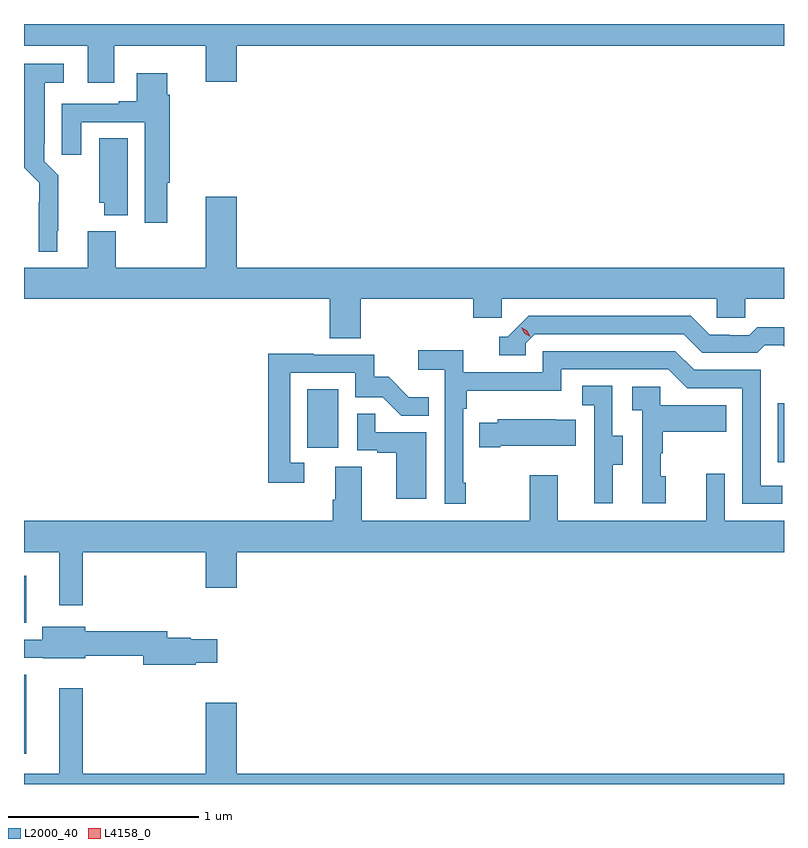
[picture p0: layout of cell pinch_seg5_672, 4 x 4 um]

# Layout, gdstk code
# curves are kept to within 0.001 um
import gdstk
lib = gdstk.Library(unit=1e-6, precision=1e-09)
def R(c, l, rs):  # rectangles x0, y0, x1, y1
    for r in rs: c.add(gdstk.rectangle(r[:2], r[2:], *l))
def P(c, l, *ps):  # polygons
    for p in ps: c.add(gdstk.Polygon(p, *l))
L2000_40 = (2000, 40)
L4158_0 = (4158, 0)

pinch_seg5_672 = lib.new_cell('pinch_seg5_672')
R(pinch_seg5_672, L2000_40, [(1027.187,842.379,1027.198,842.794), (1027.187,843.069,1027.198,843.316), (1031.154,843.912,1031.187,844.222), (1028.678,843.99,1028.842,844.297)])
P(pinch_seg5_672, L2000_40, [(1027.187,846.104),(1027.523,846.104),(1027.523,845.91),(1027.663,845.91),(1027.663,846.104),(1028.144,846.104),(1028.144,845.916),(1028.308,845.916),(1028.308,846.104),(1031.187,846.104),(1031.187,846.219),(1027.187,846.219)],
  [(1027.363,845.131),(1027.367,845.131),(1027.367,845.422),(1027.293,845.496),(1027.293,845.59),(1027.297,845.59),(1027.297,845.909),(1027.396,845.909),(1027.396,846.01),(1027.187,846.01),(1027.187,845.463),(1027.266,845.384),(1027.265,845.021),(1027.363,845.021)],
  [(1027.942,845.384),(1027.955,845.384),(1027.955,845.846),(1027.942,845.846),(1027.942,845.959),(1027.781,845.959),(1027.781,845.812),(1027.685,845.812),(1027.685,845.799),(1027.385,845.799),(1027.385,845.532),(1027.489,845.532),(1027.489,845.703),(1027.823,845.703),(1027.823,845.172),(1027.942,845.172)],
  [(1027.732,845.618),(1027.583,845.618),(1027.583,845.277),(1027.61,845.277),(1027.61,845.213),(1027.732,845.213)],
  [(1028.144,845.311),(1028.144,844.936),(1027.671,844.936),(1027.671,845.128),(1027.523,845.128),(1027.523,844.936),(1027.187,844.936),(1027.187,844.772),(1028.795,844.772),(1028.795,844.564),(1028.96,844.564),(1028.96,844.772),(1029.551,844.772),(1029.551,844.674),(1029.702,844.674),(1029.702,844.772),(1030.833,844.772),(1030.833,844.674),(1030.983,844.674),(1030.983,844.772),(1031.187,844.772),(1031.187,844.936),(1028.308,844.936),(1028.308,845.311)],
  [(1029.828,844.539),(1029.876,844.587),(1030.659,844.587),(1030.758,844.488),(1031.047,844.488),(1031.086,844.527),(1031.185,844.527),(1031.185,844.524),(1031.187,844.524),(1031.187,844.624),(1031.047,844.624),(1031.005,844.581),(1030.902,844.581),(1030.902,844.584),(1030.795,844.584),(1030.696,844.683),(1029.843,844.683),(1029.732,844.572),(1029.689,844.572),(1029.689,844.476),(1029.828,844.476)],
  [(1029.511,843.805),(1029.498,843.805),(1029.498,844.193),(1029.518,844.193),(1029.518,844.289),(1030.014,844.289),(1030.014,844.401),(1030.578,844.401),(1030.677,844.302),(1030.968,844.302),(1030.968,843.693),(1031.177,843.693),(1031.177,843.789),(1031.064,843.789),(1031.064,844.398),(1030.714,844.398),(1030.615,844.497),(1029.918,844.497),(1029.918,844.386),(1029.5,844.386),(1029.5,844.502),(1029.261,844.502),(1029.261,844.4),(1029.402,844.4),(1029.402,843.693),(1029.511,843.693)],
  [(1028.662,843.909),(1028.589,843.909),(1028.589,844.383),(1028.931,844.383),(1028.931,844.254),(1029.075,844.254),(1029.173,844.156),(1029.317,844.156),(1029.317,844.255),(1029.213,844.255),(1029.106,844.362),(1029.03,844.362),(1029.03,844.479),(1028.711,844.479),(1028.711,844.484),(1028.473,844.484),(1028.473,843.804),(1028.662,843.804)],
  [(1030.285,843.898),(1030.339,843.898),(1030.339,844.053),(1030.284,844.053),(1030.284,844.316),(1030.125,844.316),(1030.125,844.213),(1030.188,844.213),(1030.188,843.909),(1030.187,843.909),(1030.187,843.696),(1030.285,843.696)],
  [(1030.564,843.84),(1030.539,843.84),(1030.539,843.959),(1030.549,843.959),(1030.549,844.073),(1030.883,844.073),(1030.883,844.213),(1030.536,844.213),(1030.536,844.311),(1030.389,844.311),(1030.389,844.187),(1030.44,844.187),(1030.44,843.696),(1030.564,843.696)],
  [(1029.304,844.071),(1029.035,844.071),(1029.035,844.169),(1028.94,844.169),(1028.94,843.975),(1029.047,843.975),(1029.047,843.963),(1029.146,843.963),(1029.146,843.72),(1029.304,843.72)],
  [(1029.694,843.998),(1030.091,843.998),(1030.091,844.135),(1029.983,844.135),(1029.983,844.138),(1029.681,844.138),(1029.681,844.12),(1029.583,844.12),(1029.583,843.991),(1029.694,843.991)],
  [(1027.187,843.44),(1027.373,843.44),(1027.373,843.159),(1027.495,843.159),(1027.495,843.44),(1028.144,843.44),(1028.144,843.252),(1028.308,843.252),(1028.308,843.44),(1031.187,843.44),(1031.187,843.604),(1030.875,843.604),(1030.875,843.853),(1030.778,843.853),(1030.778,843.604),(1029.997,843.604),(1029.997,843.844),(1029.85,843.844),(1029.85,843.604),(1028.965,843.604),(1028.965,843.89),(1028.825,843.89),(1028.825,843.716),(1028.813,843.716),(1028.813,843.604),(1027.187,843.604)],
  [(1028.09,842.858),(1028.203,842.858),(1028.203,842.98),(1028.064,842.98),(1028.064,842.988),(1027.942,842.988),(1027.942,843.022),(1027.51,843.022),(1027.51,843.046),(1027.283,843.046),(1027.283,842.979),(1027.187,842.979),(1027.187,842.883),(1027.287,842.883),(1027.287,842.882),(1027.51,842.882),(1027.51,842.893),(1027.814,842.893),(1027.814,842.846),(1028.09,842.846)],
  [(1031.187,842.272),(1028.308,842.272),(1028.308,842.647),(1028.144,842.647),(1028.144,842.272),(1027.495,842.272),(1027.495,842.722),(1027.373,842.722),(1027.373,842.272),(1027.187,842.272),(1027.187,842.219),(1031.187,842.219)])
P(pinch_seg5_672, L4158_0, [(1029.851,844.573),(1029.82,844.592),(1029.804,844.624),(1029.804,844.624),(1029.804,844.624),(1029.835,844.605),(1029.852,844.573),(1029.852,844.573)])

lib.write_gds('pinch_seg5_672.gds')
